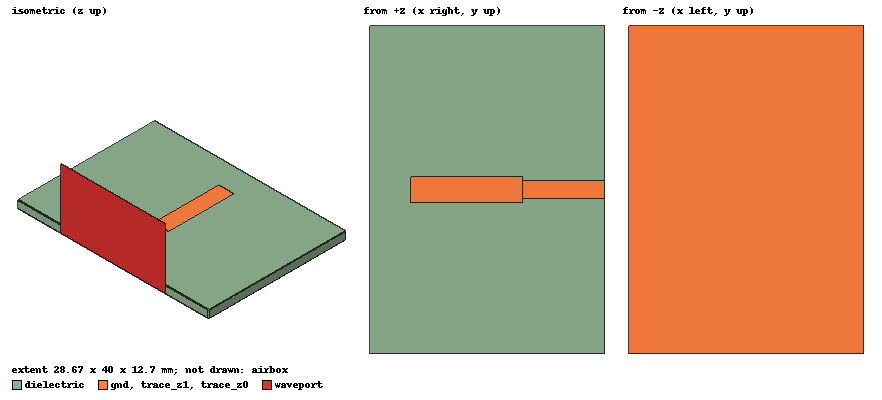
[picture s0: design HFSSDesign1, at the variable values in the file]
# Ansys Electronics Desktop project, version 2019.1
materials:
  vacuum: permittivity=1
  FR4_epoxy: permittivity=4.4 dielectric_loss_tangent=0.02
  pec: conductivity=1e+30

design HFSSDesign1 (HFSS, DrivenModal, model units mm)
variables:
  xpos = z1length+z0length
  ypos = 40mm
  copperheight = 0.03mm
  delectric = 1.5875mm
  dielectricheight = 1.5875mm
  z0width = 2.21mm
  z0length = 10mm
  z1width = 3.137mm
  z1length = 13.67mm
  airboxheight = 20mm
  waveportw = 10*z0width
  waveporth = 8*dielectricheight
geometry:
  gnd [pec] = box(corner=(-xpos/2-5mm, -ypos/2, -copperheight-dielectricheight), size=(xpos+5mm, ypos, copperheight))
  dielectric [FR4_epoxy] = box(corner=(-xpos/2-5mm, -ypos/2, -dielectricheight), size=(xpos+5mm, ypos, dielectricheight))
  trace_z0 [pec] = box(corner=(xpos/2, -z0width/2, 0mm), size=(-z0length, z0width, copperheight))
  trace_z1 [pec] = box(corner=(-xpos/2, -z1width/2, 0mm), size=(z1length, z1width, copperheight))
  airbox [vacuum] = box(corner=(-xpos/2-5mm, -ypos/2, -copperheight-dielectricheight), size=(xpos+5mm, ypos, airboxheight))
  waveport = rectangle(corner=(xpos/2, -waveportw/2, -copperheight-dielectricheight), y_size=waveportw, z_size=waveporth)
  lumpedrlc = rectangle(corner=(-xpos/2, -z1width/2, -dielectricheight), y_size=z1width, z_size=dielectricheight)
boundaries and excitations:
  Rad1: Radiation Faces=airbox.face(-x, -y, +z, +y, +x)
  LumpRLC1: Lumped RLC Objects=lumpedrlc CurrentLine{middle of lumpedrlc.edge(z opposite corner) -> middle of lumpedrlc.edge(z at corner)} Resistance=40ohm
  1: Wave Port Objects=waveport NumModes=1 Modes{Mode1{IntLine{middle of dielectric.edge(5 of 12) -> middle of trace_z0.edge(1 of 12)} CharImp=Zpi}}
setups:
  Setup1: HfssDriven Frequency=5GHz MaxDeltaS=0.01 MaximumPasses=30 MinimumPasses=1 MinimumConvergedPasses=2 PercentRefinement=20 BasisOrder=2 PortAccuracy=2 SaveAnyFields=false
    sweep Sweep: 0.5GHz to 5GHz step 0.02GHz; Type=Discrete
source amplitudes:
  1:1: 1W 0deg
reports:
  S Parameter Plot 2: dB(S(1,1)) vs Freq on Setup1 : Sweep
